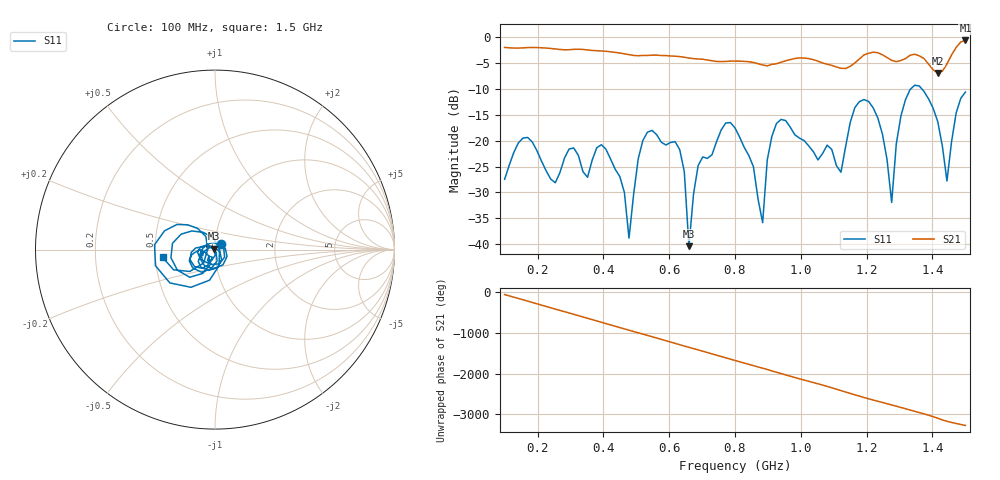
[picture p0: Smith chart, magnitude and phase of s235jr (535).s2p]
! NanoVNA-App
! Date: 2025-09-25 15:08:20
! Start: 100MHz Stop: 1,5GHz Points: 101
! S-Parameter data: F S11 S21 S12 S22
# Hz S RI R 50
!  Frequency  S11_Real  S11_Imag  S21_Real  S21_Imag  S12_Real  S12_Imag  S22_Real  S22_Imag
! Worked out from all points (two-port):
!   101 points, 100 MHz to 1.5 GHz, reference 50 ohm
!   highest |S21| = -0.62 dB at 1.5 GHz (marker M1); lowest = -6.9 dB at 1.416 GHz (marker M2)
!   |S21| within 3 dB of the highest: start of sweep to 603.3 MHz; 1.188 GHz to 1.254 GHz (65.63 MHz wide, 5.37 % of centre) (the widest 2 of 4)
!   lowest |S11| = -40.4 dB at 660 MHz (marker M3), VSWR 1.02, Z = 49.2 + j0.532 ohm
!   |S11| at or under -10 dB: start of sweep to 1.334 GHz; 1.368 GHz to end of sweep
!   S12 and S22 are empty: the file has one direction only
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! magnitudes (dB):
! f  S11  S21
! 100 MHz  -27.5  -2.0
! 170 MHz  -19.4  -2.0
! 338 MHz  -26.0  -2.3
! 408 MHz  -21.7  -2.7
! 478 MHz  -38.8  -3.4
! 520 MHz  -20.0  -3.5
! 576 MHz  -20.3  -3.5
! 632 MHz  -21.7  -3.7
! 660 MHz  -40.4  -4.0
! 688 MHz  -24.8  -4.2
! 800 MHz  -17.5  -4.6
! 884 MHz  -35.9  -5.4
! 926 MHz  -16.7  -5.1
! 1.038 GHz  -22.1  -4.3
! 1.122 GHz  -26.1  -6.0
! 1.206 GHz  -12.4  -3.1
! 1.276 GHz  -31.9  -4.5
! 1.29 GHz  -20.7  -4.7
! 1.332 GHz  -10.1  -3.5
! 1.416 GHz  -16.3  -6.9
! 1.444 GHz  -27.8  -5.2
! 1.5 GHz  -10.6  -0.6
